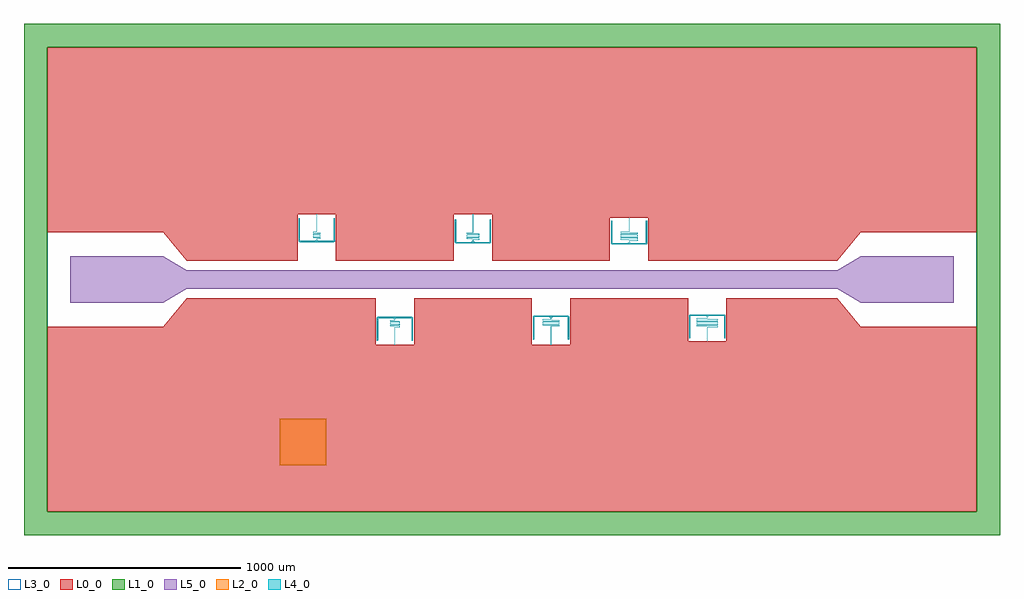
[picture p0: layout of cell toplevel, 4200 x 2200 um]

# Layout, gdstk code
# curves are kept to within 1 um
import gdstk
lib = gdstk.Library(unit=1e-6, precision=1e-09)
def R(c, l, rs):  # rectangles x0, y0, x1, y1
    for r in rs: c.add(gdstk.rectangle(r[:2], r[2:], *l))
def P(c, l, *ps):  # polygons
    for p in ps: c.add(gdstk.Polygon(p, *l))
L0_0 = (0, 0)
L1_0 = (1, 0)
L2_0 = (2, 0)
L3_0 = (3, 0)
L4_0 = (4, 0)
L5_0 = (5, 0)

toplevel = lib.new_cell('toplevel')
P(toplevel, L0_0, [(-757.5,281),(-757.5,81),(-250.5,81),(-250.5,281),(-85.5,281),(-85.5,81),(421.5,81),(421.5,266),(586.5,266),(586.5,81),(1400,81),(1500,202.5),(2000,202.5),(2000,1000),(-2000,1000),(-2000,202.5),(-1500,202.5),(-1400,81),(-922.5,81),(-922.5,281)],
  [(1400,-81),(922.5,-81),(922.5,-266),(757.5,-266),(757.5,-81),(250.5,-81),(250.5,-281),(85.5,-281),(85.5,-81),(-421.5,-81),(-421.5,-281),(-586.5,-281),(-586.5,-81),(-1400,-81),(-1500,-202.5),(-2000,-202.5),(-2000,-1000),(2000,-1000),(2000,-202.5),(1500,-202.5)])
P(toplevel, L1_0, [(2100,1100),(-2100,1100),(-2100,-1000),(-2000,-1000),(-2000,1000),(2000,1000),(2000,-1000),(-2000,-1000),(-2100,-1000),(-2100,-1100),(2100,-1100)])
R(toplevel, L2_0, [(-1000,-800,-800,-600)])
R(toplevel, L3_0, [(-2000,-1000,2000,1000)])
P(toplevel, L4_0, [(-839.7,174.914),(-839.086,175.697),(-825.724,175.716),(-824.924,176.142),(-824.7,177.095),(-824.743,180.435),(-825.629,181.27),(-854.02,181.301),(-854.687,181.786),(-854.687,185.21),(-854.275,185.678),(-825.963,185.701),(-825.124,185.937),(-824.728,186.642),(-824.738,190.416),(-825.623,191.269),(-854.005,191.301),(-854.68,191.741),(-854.689,195.193),(-854.255,195.681),(-825.923,195.702),(-825.105,195.952),(-824.728,196.642),(-824.736,200.403),(-825.636,201.271),(-854.005,201.301),(-854.678,201.729),(-854.375,205.653),(-840.828,205.707),(-839.733,206.61),(-839.7,281),(-840.3,281),(-840.323,206.721),(-840.933,206.302),(-854.579,206.217),(-855.276,205.332),(-855.269,201.623),(-854.077,200.702),(-825.745,200.681),(-825.311,200.193),(-825.32,196.741),(-825.99,196.301),(-854.364,196.271),(-855.264,195.403),(-855.272,191.642),(-854.882,190.942),(-854.042,190.701),(-825.765,190.684),(-825.312,190.206),(-825.314,186.777),(-825.99,186.301),(-854.416,186.262),(-855.269,185.377),(-855.282,181.706),(-854.936,180.986),(-854.06,180.702),(-825.745,180.681),(-825.316,180.235),(-825.312,176.794),(-825.919,176.303),(-839.652,176.19),(-840.28,175.307),(-840.3,171),(-850,166),(-912.259,166.263),(-912.502,261.109),(-912.952,262.434),(-914.043,263.31),(-915.326,263.479),(-916.607,262.915),(-917.5,261),(-917.475,166.954),(-916.915,164.4),(-915.563,162.507),(-913.447,161.346),(-910.644,161),(-769.356,161),(-766.888,161.253),(-764.934,162.118),(-763.131,164.296),(-762.504,167.513),(-762.5,261),(-763.085,262.607),(-764.353,263.415),(-765.752,263.384),(-766.983,262.522),(-767.498,261.109),(-767.751,166.251),(-830,166),(-839.7,171)],
  [(-504.301,-175.044),(-504.923,-175.697),(-523.52,-175.764),(-524.143,-176.25),(-524.3,-177.122),(-524.27,-180.37),(-523.54,-181.23),(-485.015,-181.3),(-484.448,-181.448),(-484.3,-182.06),(-484.312,-185.206),(-484.79,-185.687),(-523.048,-185.701),(-523.87,-185.933),(-524.263,-186.591),(-524.261,-190.416),(-523.294,-191.281),(-485.015,-191.3),(-484.327,-191.702),(-484.312,-195.206),(-484.79,-195.687),(-523.042,-195.701),(-523.852,-195.92),(-524.256,-196.558),(-524.261,-200.416),(-523.294,-201.281),(-485.02,-201.3),(-484.331,-201.683),(-484.308,-205.163),(-484.675,-205.667),(-503.112,-205.703),(-504.248,-206.526),(-504.3,-281),(-503.7,-281),(-503.666,-206.671),(-503.029,-206.301),(-484.519,-206.246),(-483.728,-205.358),(-483.747,-201.545),(-484.957,-200.701),(-523.21,-200.687),(-523.688,-200.202),(-523.671,-196.69),(-522.985,-196.3),(-484.706,-196.281),(-483.738,-195.416),(-483.74,-191.578),(-484.136,-190.928),(-484.957,-190.701),(-523.21,-190.687),(-523.688,-190.206),(-523.675,-186.709),(-522.985,-186.3),(-484.706,-186.281),(-483.738,-185.416),(-483.735,-181.604),(-484.13,-180.933),(-484.952,-180.701),(-523.197,-180.689),(-523.684,-180.235),(-523.689,-176.803),(-523.091,-176.303),(-504.388,-176.205),(-503.723,-175.326),(-503.7,-171),(-494,-166),(-431.741,-166.263),(-431.498,-261.109),(-431.048,-262.434),(-429.957,-263.31),(-428.674,-263.479),(-427.393,-262.915),(-426.5,-261),(-426.525,-166.954),(-427.1,-164.365),(-428.437,-162.507),(-430.552,-161.346),(-433.356,-161),(-574.644,-161),(-577.112,-161.253),(-579.066,-162.118),(-580.853,-164.261),(-581.496,-167.513),(-581.5,-261),(-580.915,-262.607),(-579.647,-263.415),(-578.248,-263.384),(-577.017,-262.522),(-576.502,-261.109),(-576.254,-166.257),(-514,-166),(-504.3,-171)],
  [(-167.7,169.92),(-167.561,170.542),(-167.048,170.698),(-142.774,170.711),(-141.928,171.136),(-141.7,172.122),(-141.755,175.487),(-142.78,176.289),(-192.97,176.3),(-193.668,176.679),(-193.687,180.214),(-193.176,180.691),(-142.98,180.701),(-142.167,180.907),(-141.752,181.526),(-141.74,185.422),(-142.762,186.288),(-192.965,186.3),(-193.664,186.664),(-193.687,190.21),(-193.176,190.691),(-142.986,190.701),(-142.18,190.898),(-141.76,191.493),(-141.738,195.416),(-142.755,196.287),(-192.965,196.3),(-193.659,196.646),(-193.691,200.176),(-193.279,200.677),(-168.929,200.702),(-167.77,201.46),(-167.7,281),(-168.3,281),(-168.344,201.636),(-168.995,201.301),(-193.409,201.263),(-194.27,200.37),(-194.236,196.48),(-193.814,195.894),(-193.014,195.701),(-142.824,195.691),(-142.313,195.21),(-142.339,191.653),(-143.035,191.3),(-193.238,191.288),(-194.26,190.422),(-194.245,186.513),(-193.833,185.907),(-193.02,185.701),(-142.824,185.691),(-142.313,185.21),(-142.334,181.672),(-143.03,181.3),(-193.238,181.288),(-194.259,180.428),(-194.251,176.539),(-193.839,175.911),(-193.02,175.701),(-142.837,175.692),(-142.304,175.118),(-142.304,171.886),(-142.612,171.352),(-167.54,171.23),(-168.285,170.269),(-168.3,166),(-178,161),(-240.249,161.251),(-240.502,256.109),(-240.952,257.434),(-242.043,258.31),(-243.326,258.479),(-244.607,257.915),(-245.5,256),(-245.475,161.954),(-244.915,159.4),(-243.563,157.507),(-241.447,156.346),(-238.644,156),(-97.356,156),(-94.888,156.253),(-92.934,157.118),(-91.1,159.365),(-90.503,162.563),(-90.5,256),(-91.085,257.607),(-92.353,258.415),(-93.752,258.384),(-94.983,257.522),(-95.498,256.109),(-95.751,161.251),(-158,161),(-167.7,166)],
  [(167.698,-170.072),(167.534,-170.568),(167.01,-170.699),(133.591,-170.737),(132.907,-171.167),(132.7,-172.058),(132.747,-175.454),(133.578,-176.26),(201.995,-176.3),(202.568,-176.466),(202.7,-177.122),(202.681,-180.255),(202.123,-180.695),(134.008,-180.7),(133.212,-180.879),(132.781,-181.427),(132.74,-185.422),(133.094,-186.039),(133.81,-186.292),(201.95,-186.3),(202.648,-186.612),(202.687,-190.214),(202.136,-190.694),(134.014,-190.7),(133.231,-190.868),(132.792,-191.394),(132.738,-195.416),(133.094,-196.039),(133.81,-196.292),(201.945,-196.3),(202.641,-196.592),(202.69,-200.184),(202.227,-200.685),(168.969,-200.701),(167.81,-201.348),(167.7,-281),(168.3,-281),(168.363,-201.582),(169.025,-201.3),(202.332,-201.276),(203.269,-200.377),(203.2,-196.375),(201.986,-195.7),(133.864,-195.694),(133.313,-195.214),(133.355,-191.602),(134.05,-191.3),(202.19,-191.292),(202.906,-191.039),(203.26,-190.422),(203.215,-186.414),(202.782,-185.875),(201.992,-185.7),(133.864,-185.694),(133.314,-185.218),(133.349,-181.618),(134.05,-181.3),(202.166,-181.294),(202.87,-181.067),(203.254,-180.448),(203.222,-176.434),(202.782,-175.875),(202.037,-175.701),(133.82,-175.691),(133.302,-175.063),(133.306,-171.859),(133.657,-171.338),(167.448,-171.254),(168.276,-170.332),(168.3,-166),(178,-161),(238.62,-161),(240.243,-161.246),(240.5,-162.9),(240.502,-256.109),(240.952,-257.434),(242.043,-258.31),(243.326,-258.479),(244.607,-257.915),(245.5,-256),(245.475,-161.954),(244.915,-159.4),(243.563,-157.507),(241.447,-156.346),(238.644,-156),(97.356,-156),(94.888,-156.253),(92.934,-157.118),(91.1,-159.365),(90.503,-162.563),(90.5,-256),(91.085,-257.607),(92.353,-258.415),(93.752,-258.384),(94.983,-257.522),(95.498,-256.109),(95.5,-162.88),(95.751,-161.251),(97.38,-161),(158,-161),(167.7,-166)],
  [(504.3,164.93),(504.441,165.544),(504.99,165.699),(539.112,165.703),(540.008,166.058),(540.3,167.047),(540.253,170.454),(539.876,171.062),(539.196,171.292),(469.005,171.3),(468.355,171.602),(468.311,175.193),(468.882,175.696),(538.986,175.7),(539.763,175.864),(540.203,176.381),(540.261,180.416),(539.906,181.039),(539.183,181.292),(469.055,181.3),(468.361,181.586),(468.313,185.214),(468.868,185.695),(538.981,185.7),(539.743,185.853),(540.187,186.342),(540.263,190.409),(539.906,191.039),(539.183,191.292),(469.055,191.3),(468.369,191.567),(468.313,195.21),(468.868,195.695),(538.981,195.7),(540.166,196.296),(540.264,200.403),(539.912,201.034),(539.19,201.292),(469.06,201.3),(468.381,201.543),(468.309,205.176),(468.777,205.686),(503.014,205.701),(504.136,206.237),(504.3,266),(503.7,266),(503.612,206.529),(502.965,206.3),(468.674,206.277),(468.035,205.987),(467.728,205.358),(467.85,201.263),(469.025,200.7),(539.132,200.695),(539.687,200.21),(539.625,196.555),(538.94,196.3),(468.81,196.292),(468.087,196.034),(467.736,195.403),(467.825,191.315),(469.019,190.7),(539.132,190.695),(539.687,190.21),(539.635,186.576),(538.945,186.3),(468.816,186.292),(468.093,186.039),(467.738,185.416),(467.805,181.361),(468.244,180.86),(469.014,180.7),(539.132,180.695),(539.687,180.214),(539.642,176.595),(538.945,176.3),(468.84,176.294),(468.13,176.067),(467.745,175.448),(467.778,171.434),(468.218,170.875),(468.963,170.701),(539.18,170.691),(539.686,170.218),(539.694,166.855),(539.519,166.419),(539.005,166.301),(504.558,166.256),(503.725,165.339),(503.7,161),(494,156),(433.38,156),(431.741,156.263),(431.5,157.88),(431.498,251.109),(431.048,252.434),(429.957,253.31),(428.674,253.479),(427.393,252.915),(426.734,252.056),(426.5,251),(426.525,156.954),(427.1,154.365),(428.437,152.507),(430.552,151.346),(433.356,151),(574.644,151),(577.112,151.253),(579.066,152.118),(580.853,154.261),(581.496,157.513),(581.5,251),(580.915,252.607),(579.647,253.415),(578.248,253.384),(577.017,252.522),(576.502,251.109),(576.5,157.88),(576.254,156.257),(574.62,156),(514,156),(504.3,161)],
  [(839.697,-165.081),(839.552,-165.552),(839.067,-165.698),(795.668,-165.724),(794.92,-166.148),(794.7,-167.101),(794.744,-170.441),(795.064,-171.014),(795.642,-171.272),(884.01,-171.301),(884.577,-171.477),(884.7,-172.075),(884.681,-175.255),(884.072,-175.698),(795.98,-175.701),(795.224,-175.871),(794.825,-176.315),(794.736,-180.403),(795.082,-181.029),(795.87,-181.296),(883.935,-181.3),(884.621,-181.546),(884.687,-185.214),(884.104,-185.696),(796.036,-185.7),(795.302,-185.831),(794.854,-186.257),(794.736,-190.403),(795.1,-191.044),(795.846,-191.294),(883.93,-191.3),(884.61,-191.526),(884.687,-195.21),(884.104,-195.696),(796.041,-195.7),(794.883,-196.205),(794.733,-200.39),(795.093,-201.039),(795.846,-201.294),(883.93,-201.3),(884.598,-201.506),(884.691,-205.18),(884.189,-205.69),(841.008,-205.7),(839.92,-206.148),(839.7,-207.058),(839.7,-266),(840.3,-266),(840.409,-206.495),(884.276,-206.284),(884.953,-205.998),(885.273,-205.351),(885.101,-201.18),(883.959,-200.7),(795.895,-200.696),(795.313,-200.21),(795.394,-196.518),(796.07,-196.3),(884.153,-196.294),(884.9,-196.044),(885.265,-195.396),(885.132,-191.231),(883.964,-190.7),(795.895,-190.696),(795.313,-190.214),(795.384,-186.538),(796.065,-186.3),(884.153,-186.294),(884.9,-186.044),(885.263,-185.409),(885.157,-181.276),(884.704,-180.834),(883.964,-180.7),(795.909,-180.697),(795.312,-180.202),(795.382,-176.54),(796.02,-176.3),(884.124,-176.296),(884.906,-176.039),(885.26,-175.422),(885.19,-171.348),(884.763,-170.864),(884.042,-170.701),(795.868,-170.695),(795.32,-170.259),(795.308,-166.833),(795.462,-166.435),(795.937,-166.302),(839.428,-166.259),(839.998,-165.953),(840.272,-165.358),(840.3,-161),(850,-156),(910.62,-156),(912.259,-156.263),(912.5,-157.9),(912.502,-251.109),(912.952,-252.434),(914.043,-253.31),(915.326,-253.479),(916.607,-252.915),(917.266,-252.056),(917.5,-251),(917.475,-156.954),(916.915,-154.4),(915.563,-152.507),(913.447,-151.346),(910.644,-151),(769.356,-151),(766.888,-151.253),(764.934,-152.118),(763.923,-153.034),(763.131,-154.296),(762.504,-157.513),(762.5,-251),(763.085,-252.607),(764.353,-253.415),(765.752,-253.384),(766.983,-252.522),(767.498,-251.109),(767.5,-157.88),(767.751,-156.251),(769.38,-156),(830,-156),(839.7,-161)])
P(toplevel, L5_0, [(-1400,40),(-1500,100),(-1900,100),(-1900,-100),(-1500,-100),(-1400,-40),(1400,-40),(1500,-100),(1900,-100),(1900,100),(1500,100),(1400,40)])

lib.write_gds('toplevel.gds')
